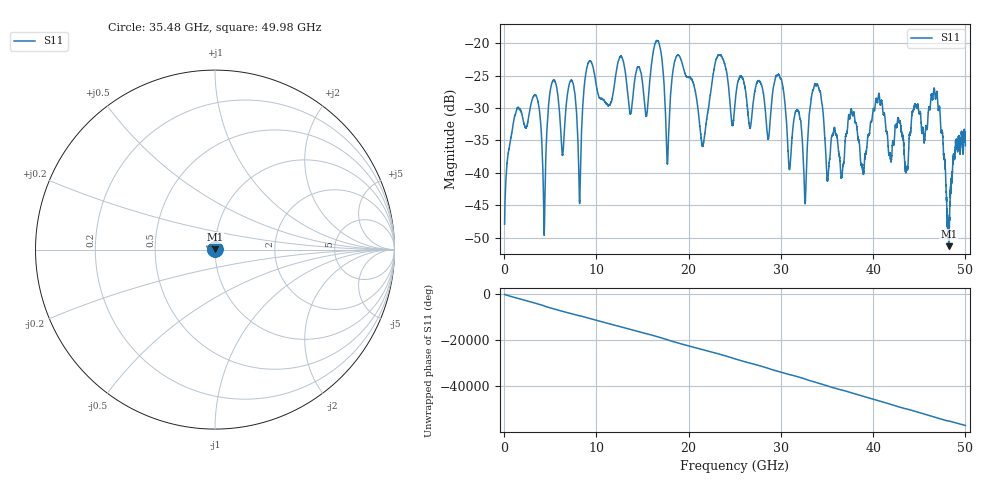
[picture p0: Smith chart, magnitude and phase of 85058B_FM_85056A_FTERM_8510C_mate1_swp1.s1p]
!Created with skrf (http://scikit-rf.org).
# Hz S RI R 50.0
!freq ReS11 ImS11
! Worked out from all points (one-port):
!   10001 points, 45 MHz to 50 GHz, reference 50 ohm
!   lowest |S11| = -51.3 dB at 48.19 GHz (marker M1), VSWR 1.01, Z = 50 + j0.267 ohm
!   |S11| at or under -10 dB: start of sweep to end of sweep
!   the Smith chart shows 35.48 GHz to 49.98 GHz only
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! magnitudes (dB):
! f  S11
! 45 MHz  -47.9
! 1.444 GHz  -30.0
! 3.522 GHz  -28.3
! 4.331 GHz  -49.3
! 5.415 GHz  -25.7
! 6.289 GHz  -37.1
! 7.189 GHz  -25.8
! 8.173 GHz  -44.5
! 9.107 GHz  -23.0
! 12.53 GHz  -22.1
! 15.4 GHz  -31.3
! 16.7 GHz  -19.7
! 17.71 GHz  -38.4
! 18.78 GHz  -21.9
! 21.5 GHz  -35.9
! 23.2 GHz  -21.9
! 25.02 GHz  -29.4
! 28.63 GHz  -34.7
! 29.71 GHz  -24.9
! 31.27 GHz  -33.6
! 32.64 GHz  -44.8
! 33.87 GHz  -26.4
! 36.63 GHz  -40.3
! 37.51 GHz  -31.3
! 43.76 GHz  -39.0
! 46.75 GHz  -28.6
! 48.19 GHz  -51.3
! 50 GHz  -35.8
